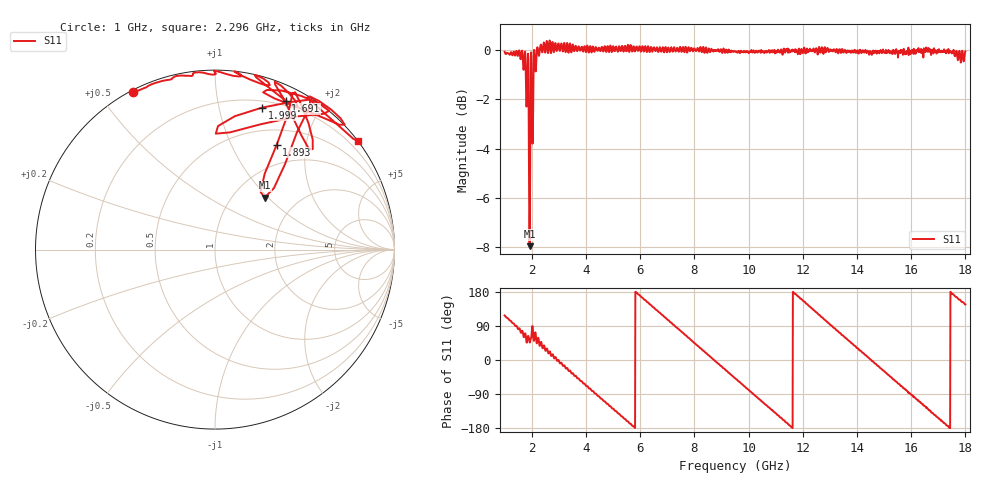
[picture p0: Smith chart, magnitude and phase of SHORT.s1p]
!Keysight Technologies N9917A: A.09.53
!Date: Thursday, 10 October 2019 13:35:32
!TimeZone: (UTC-08:00) Pacific Time (US & Canada)!Model: N9917A
!Serial: MY56072049
!GPS Latitude:
!GPS Longitude:
!GPS TimeStamp: 0001-01-01 00:00:00Z
!GPS Seconds Since Last Read: 0
!CHECKSUM:0163027284
!Correction: S11(ON U)
!S1P File: Measurement: S11:
# Hz S DB R 50
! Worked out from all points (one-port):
!   1601 points, 1 GHz to 18 GHz, reference 50 ohm
!   lowest |S11| = -8.0 dB at 1.924 GHz (marker M1), VSWR 2.33, Z = 69.1 + j47.6 ohm
!   |S11| at or under -10 dB: nowhere
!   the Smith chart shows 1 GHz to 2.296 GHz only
!   S11 on the Smith chart (normalised r, x): 1 GHz: 0.01, +0.61; 1.691 GHz: 0.15, +1.57; 1.893 GHz: 0.70, +1.51; 1.999 GHz: 0.26, +1.35; 2.296 GHz: -0.00, +2.96
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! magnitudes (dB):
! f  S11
! 1 GHz  -0.1
! 1.478 GHz  -0.2
! 1.691 GHz  -0.7
! 1.754 GHz  -0.1
! 1.797 GHz  -2.0
! 1.818 GHz  -2.2
! 1.839 GHz  -1.2
! 1.861 GHz  -0.1
! 1.893 GHz  -3.4
! 1.924 GHz  -8.0
! 1.967 GHz  -0.4
! 1.978 GHz  -0.1
! 1.999 GHz  -1.6
! 2.02 GHz  -3.2
! 2.041 GHz  -3.6
! 2.094 GHz  0.0
! 2.147 GHz  -0.9
! 2.296 GHz  0.0
! 3.125 GHz  0.1
! 5.25 GHz  0.1
! 7.375 GHz  0.1
! 9.5 GHz  -0.1
! 11.62 GHz  -0.1
! 13.75 GHz  0.0
! 15.88 GHz  0.0
! 17.29 GHz  -0.1
! 17.88 GHz  0.0
! 18 GHz  0.0
